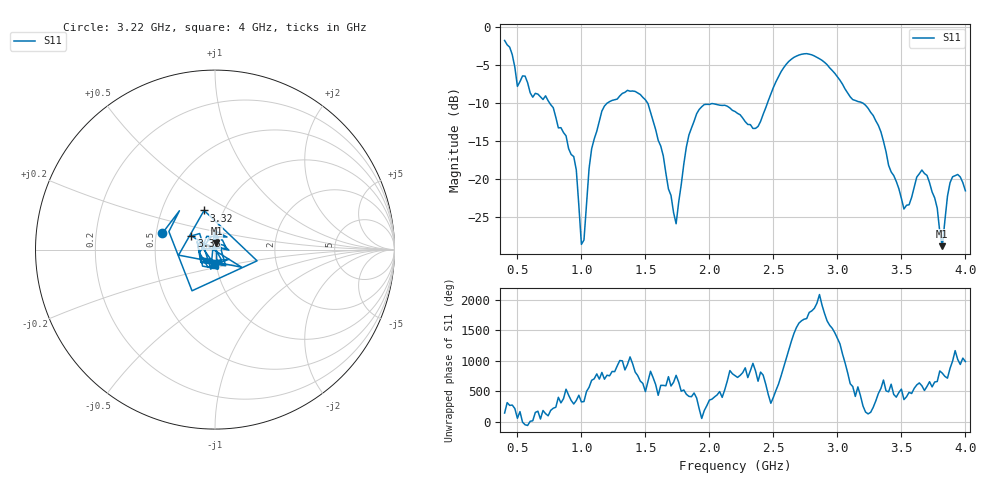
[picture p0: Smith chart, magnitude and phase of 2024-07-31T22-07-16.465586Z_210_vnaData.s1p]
!Created with skrf (http://scikit-rf.org).
# Hz S RI R 50.0
!freq ReS11 ImS11
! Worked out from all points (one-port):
!   181 points, 400 MHz to 4 GHz, reference 50 ohm
!   lowest |S11| = -28.8 dB at 3.82 GHz (marker M1), VSWR 1.08, Z = 50.6 + j3.61 ohm
!   |S11| at or under -10 dB: 753.4 MHz to 1.199 GHz (446 MHz wide, 45.7 % of centre); 1.519 GHz to 2.453 GHz (933.9 MHz wide, 47 % of centre); 3.202 GHz to end of sweep
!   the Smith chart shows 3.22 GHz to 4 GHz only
!   S11 on the Smith chart (normalised r, x): 3.22 GHz: 0.54, +0.11; 3.32 GHz: 0.81, +0.37; 3.38 GHz: 0.76, +0.12; 4 GHz: 0.98, -0.17
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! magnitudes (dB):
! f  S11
! 400 MHz  -1.7
! 500 MHz  -7.8
! 720 MHz  -9.0
! 860 MHz  -13.8
! 960 MHz  -18.8
! 1 GHz  -28.5
! 1.02 GHz  -28.0
! 1.08 GHz  -16.0
! 1.18 GHz  -10.4
! 1.3 GHz  -9.0
! 1.52 GHz  -10.0
! 1.74 GHz  -25.8
! 1.76 GHz  -23.0
! 1.84 GHz  -14.2
! 1.92 GHz  -10.8
! 2.2 GHz  -11.1
! 2.38 GHz  -13.0
! 2.66 GHz  -4.0
! 2.88 GHz  -4.3
! 3.1 GHz  -9.1
! 3.22 GHz  -10.3
! 3.32 GHz  -12.9
! 3.38 GHz  -16.4
! 3.56 GHz  -23.3
! 3.7 GHz  -19.5
! 3.82 GHz  -28.8
! 3.88 GHz  -20.4
! 4 GHz  -21.5
